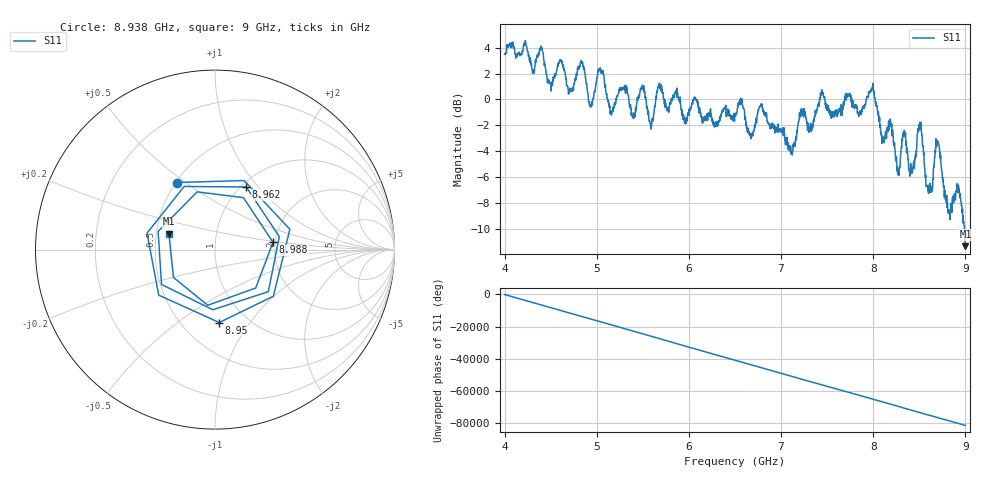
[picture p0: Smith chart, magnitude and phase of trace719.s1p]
! Created with skrf 1.8.0 (http://scikit-rf.org).
# Hz S RI R 50.0
!freq ReS11 ImS11
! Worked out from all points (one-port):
!   1601 points, 4 GHz to 9 GHz, reference 50 ohm
!   lowest |S11| = -11.3 dB at 9 GHz (marker M1), VSWR 1.75, Z = 29.2 + j5.56 ohm
!   |S11| at or under -10 dB: 8.990032 GHz to end of sweep
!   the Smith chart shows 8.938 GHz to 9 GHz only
!   S11 on the Smith chart (normalised r, x): 8.938 GHz: 0.50, +0.46; 8.95 GHz: 0.75, -0.73; 8.962 GHz: 1.06, +0.87; 8.988 GHz: 1.94, +0.18; 9 GHz: 0.58, +0.11
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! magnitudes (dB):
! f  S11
! 4 GHz  3.5
! 4.625 GHz  2.8
! 4.712 GHz  0.7
! 4.844 GHz  2.9
! 4.934 GHz  -0.4
! 5.038 GHz  2.4
! 5.156 GHz  -0.9
! 5.25 GHz  0.7
! 5.497 GHz  1.1
! 5.591 GHz  -2.0
! 5.678 GHz  1.3
! 5.875 GHz  0.6
! 6.5 GHz  -1.2
! 7.125 GHz  -3.9
! 7.225 GHz  -0.9
! 7.75 GHz  0.4
! 7.988 GHz  0.9
! 8.266 GHz  -5.8
! 8.375 GHz  -4.4
! 8.506 GHz  -2.3
! 8.6 GHz  -7.2
! 8.697 GHz  -3.3
! 8.809 GHz  -8.5
! 8.938 GHz  -7.3
! 8.95 GHz  -7.8
! 8.962 GHz  -8.2
! 8.988 GHz  -9.7
! 9 GHz  -11.3
